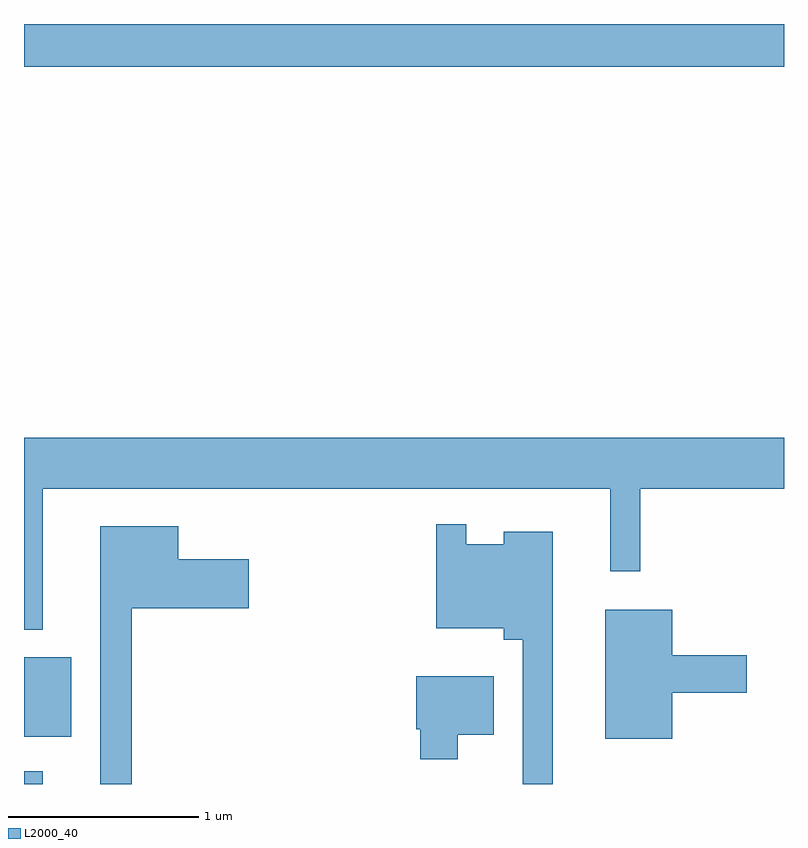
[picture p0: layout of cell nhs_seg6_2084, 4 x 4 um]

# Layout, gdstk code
import gdstk
lib = gdstk.Library(unit=1e-6, precision=1e-09)
def R(c, l, rs):  # rectangles x0, y0, x1, y1
    for r in rs: c.add(gdstk.rectangle(r[:2], r[2:], *l))
def P(c, l, *ps):  # polygons
    for p in ps: c.add(gdstk.Polygon(p, *l))
L2000_40 = (2000, 40)

nhs_seg6_2084 = lib.new_cell('nhs_seg6_2084')
R(nhs_seg6_2084, L2000_40, [(247.611,1646.162,247.709,1646.228), (247.611,1646.411,247.859,1646.829), (247.611,1649.936,251.611,1650.162)])
P(nhs_seg6_2084, L2000_40, [(247.709,1647.716),(250.696,1647.716),(250.696,1647.283),(250.854,1647.283),(250.854,1647.716),(251.611,1647.716),(251.611,1647.984),(247.611,1647.984),(247.611,1646.973),(247.709,1646.973)],
  [(250.394,1647.489),(250.136,1647.489),(250.136,1647.424),(249.939,1647.424),(249.939,1647.528),(249.781,1647.528),(249.781,1646.981),(250.136,1646.981),(250.136,1646.921),(250.236,1646.921),(250.236,1646.162),(250.394,1646.162)],
  [(248.179,1647.086),(248.794,1647.086),(248.794,1647.344),(248.424,1647.344),(248.424,1647.519),(248.011,1647.519),(248.011,1646.162),(248.179,1646.162)],
  [(251.024,1646.641),(251.414,1646.641),(251.414,1646.839),(251.024,1646.839),(251.024,1647.079),(250.671,1647.079),(250.671,1646.401),(251.024,1646.401)],
  [(249.894,1646.421),(250.084,1646.421),(250.084,1646.729),(249.676,1646.729),(249.676,1646.451),(249.696,1646.451),(249.696,1646.291),(249.894,1646.291)])

lib.write_gds('nhs_seg6_2084.gds')
